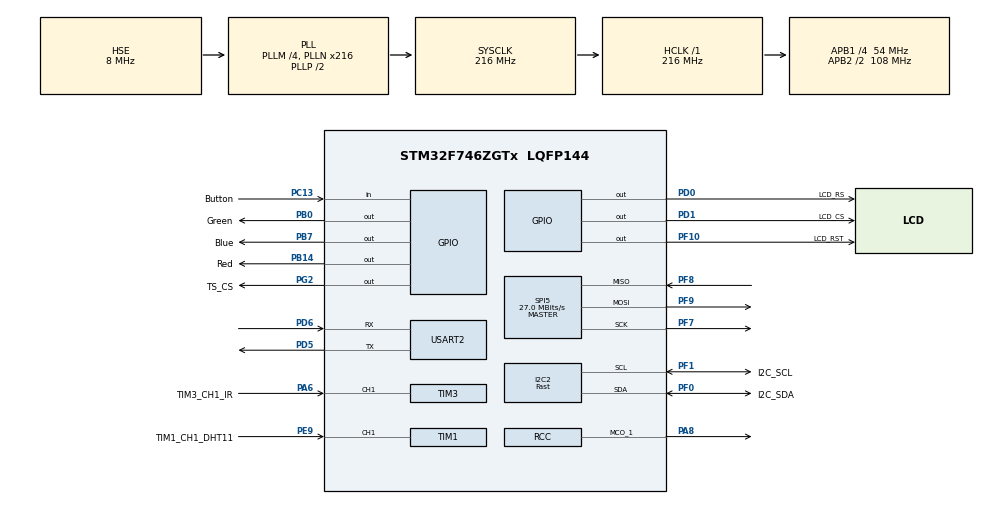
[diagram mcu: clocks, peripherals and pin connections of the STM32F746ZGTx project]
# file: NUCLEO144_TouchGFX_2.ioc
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CORTEX_M7.CPU_DCache=Disabled
CORTEX_M7.CPU_ICache=Disabled
CORTEX_M7.PREFETCH_ENABLE=0
Dma.I2C2_RX.0.Direction=DMA_PERIPH_TO_MEMORY
Dma.I2C2_RX.0.FIFOMode=DMA_FIFOMODE_DISABLE
Dma.I2C2_RX.0.Instance=DMA1_Stream2
Dma.I2C2_RX.0.MemDataAlignment=DMA_MDATAALIGN_BYTE
Dma.I2C2_RX.0.MemInc=DMA_MINC_ENABLE
Dma.I2C2_RX.0.Mode=DMA_NORMAL
Dma.I2C2_RX.0.PeriphDataAlignment=DMA_PDATAALIGN_BYTE
Dma.I2C2_RX.0.PeriphInc=DMA_PINC_DISABLE
Dma.I2C2_RX.0.Priority=DMA_PRIORITY_LOW
Dma.I2C2_TX.1.Direction=DMA_MEMORY_TO_PERIPH
Dma.I2C2_TX.1.FIFOMode=DMA_FIFOMODE_DISABLE
Dma.I2C2_TX.1.Instance=DMA1_Stream7
Dma.I2C2_TX.1.MemDataAlignment=DMA_MDATAALIGN_BYTE
Dma.I2C2_TX.1.MemInc=DMA_MINC_ENABLE
Dma.I2C2_TX.1.Mode=DMA_NORMAL
Dma.I2C2_TX.1.PeriphDataAlignment=DMA_PDATAALIGN_BYTE
Dma.I2C2_TX.1.PeriphInc=DMA_PINC_DISABLE
Dma.I2C2_TX.1.Priority=DMA_PRIORITY_LOW
Dma.Request0=I2C2_RX
Dma.Request1=I2C2_TX
Dma.Request2=SPI5_TX
Dma.Request3=TIM1_CH1
Dma.SPI5_TX.2.Direction=DMA_MEMORY_TO_PERIPH
Dma.SPI5_TX.2.FIFOMode=DMA_FIFOMODE_DISABLE
Dma.SPI5_TX.2.Instance=DMA2_Stream4
Dma.SPI5_TX.2.MemDataAlignment=DMA_MDATAALIGN_HALFWORD
Dma.SPI5_TX.2.MemInc=DMA_MINC_ENABLE
Dma.SPI5_TX.2.Mode=DMA_NORMAL
Dma.SPI5_TX.2.PeriphDataAlignment=DMA_PDATAALIGN_HALFWORD
Dma.SPI5_TX.2.PeriphInc=DMA_PINC_DISABLE
Dma.SPI5_TX.2.Priority=DMA_PRIORITY_LOW
Dma.TIM1_CH1.3.Direction=DMA_PERIPH_TO_MEMORY
Dma.TIM1_CH1.3.FIFOMode=DMA_FIFOMODE_DISABLE
Dma.TIM1_CH1.3.Instance=DMA2_Stream1
Dma.TIM1_CH1.3.MemDataAlignment=DMA_MDATAALIGN_HALFWORD
Dma.TIM1_CH1.3.MemInc=DMA_MINC_ENABLE
Dma.TIM1_CH1.3.Mode=DMA_NORMAL
Dma.TIM1_CH1.3.PeriphDataAlignment=DMA_PDATAALIGN_HALFWORD
Dma.TIM1_CH1.3.PeriphInc=DMA_PINC_DISABLE
Dma.TIM1_CH1.3.Priority=DMA_PRIORITY_LOW
FREERTOS.HEAP_NUMBER=4
FREERTOS.INCLUDE_eTaskGetState=1
FREERTOS.INCLUDE_pcTaskGetTaskName=1
FREERTOS.INCLUDE_uxTaskGetStackHighWaterMark=1
FREERTOS.INCLUDE_vTaskDelayUntil=1
FREERTOS.INCLUDE_xTaskGetCurrentTaskHandle=1
FREERTOS.INCLUDE_xTaskGetHandle=1
FREERTOS.Tasks01=defaultTask,0,4096,StartDefaultTask,Default,NULL,Dynamic,NULL,NULL;MonitorTask,0,256,StartMonitorTask,Default,NULL,Dynamic,NULL,NULL;InitTask,1,128,StartInitTask,Default,NULL,Dynamic,NULL,NULL;TemperatureTask,0,128,StartTemperatureTask,Default,NULL,Dynamic,NULL,NULL;HumidityTask,0,128,StartHumidityTask,Default,NULL,Dynamic,NULL,NULL
FREERTOS.Timers01=statTimer,statTimerCallback,osTimerPeriodic,Default,NULL,Dynamic,NULL;temperatureTimer,temperatureTimerCallback,osTimerPeriodic,Default,NULL,Dynamic,NULL;humidityTimer,humidityTimerCallback,osTimerPeriodic,Default,NULL,Dynamic,NULL
FREERTOS.configCHECK_FOR_STACK_OVERFLOW=2
FREERTOS.configGENERATE_RUN_TIME_STATS=1
FREERTOS.configRECORD_STACK_HIGH_ADDRESS=1
FREERTOS.configTIMER_QUEUE_LENGTH=5
FREERTOS.configTIMER_TASK_STACK_DEPTH=128
FREERTOS.configTOTAL_HEAP_SIZE=30720
FREERTOS.configUSE_APPLICATION_TASK_TAG=1
FREERTOS.configUSE_MALLOC_FAILED_HOOK=1
FREERTOS.configUSE_TIMERS=1
FREERTOS.configUSE_TRACE_FACILITY=1
I2C2.I2C_Fall_Time=100
I2C2.I2C_Rise_Time=300
I2C2.I2C_Speed_Mode=I2C_Fast
I2C2.Timing=0x10A00D25
Mcu.Family=STM32F7
Mcu.Name=STM32F746ZGTx
Mcu.Package=LQFP144
NVIC.DMA1_Stream2_IRQn=true\:5\:0\:true\:false\:true\:true\:false\:true
NVIC.DMA1_Stream7_IRQn=true\:5\:0\:true\:false\:true\:true\:false\:true
NVIC.DMA2_Stream1_IRQn=true\:5\:0\:false\:false\:true\:true\:false\:true
NVIC.DMA2_Stream4_IRQn=true\:5\:0\:true\:false\:true\:true\:false\:true
NVIC.I2C2_ER_IRQn=true\:5\:0\:true\:false\:true\:true\:true\:true
NVIC.I2C2_EV_IRQn=true\:5\:0\:true\:false\:true\:true\:true\:true
NVIC.PriorityGroup=NVIC_PRIORITYGROUP_4
NVIC.SPI5_IRQn=true\:5\:0\:true\:false\:true\:true\:true\:true
NVIC.TIM1_UP_TIM10_IRQn=true\:5\:0\:true\:false\:true\:true\:true\:true
NVIC.TIM2_IRQn=true\:5\:0\:true\:false\:true\:true\:true\:true
NVIC.TIM3_IRQn=true\:5\:0\:false\:false\:true\:true\:true\:true
NVIC.TIM6_DAC_IRQn=true\:0\:0\:false\:false\:true\:false\:false\:true
NVIC.TimeBase=TIM6_DAC_IRQn
NVIC.TimeBaseIP=TIM6
PA13.Mode=Trace_Asynchronous_SW
PA13.Signal=SYS_JTMS-SWDIO
PA14.Mode=Trace_Asynchronous_SW
PA14.Signal=SYS_JTCK-SWCLK
PA6.GPIO_Label=TIM3_CH1_IR
PA6.Signal=S_TIM3_CH1
PA8.Mode=Clock-out-1
PA8.Signal=RCC_MCO_1
PB0.GPIO_Label=Green
PB0.Signal=GPIO_Output
PB14.GPIO_Label=Red
PB14.Signal=GPIO_Output
PB3.Mode=Trace_Asynchronous_SW
PB3.Signal=SYS_JTDO-SWO
PB7.GPIO_Label=Blue
PB7.Signal=GPIO_Output
PC13.GPIO_Label=Button
PC13.Signal=GPIO_Input
PC14/OSC32_IN.Mode=LSE-External-Oscillator
PC14/OSC32_IN.Signal=RCC_OSC32_IN
PC15/OSC32_OUT.Mode=LSE-External-Oscillator
PC15/OSC32_OUT.Signal=RCC_OSC32_OUT
PC3.GPIO_Label=SPI2_MOSI
PC3.Signal=SPI2_MOSI
PD0.GPIO_Label=LCD_RS
PD0.GPIO_Speed=GPIO_SPEED_FREQ_VERY_HIGH
PD0.PinState=GPIO_PIN_SET
PD0.Signal=GPIO_Output
PD1.GPIO_Label=LCD_CS
PD1.GPIO_ModeDefaultOutputPP=GPIO_MODE_OUTPUT_PP
PD1.GPIO_Speed=GPIO_SPEED_FREQ_VERY_HIGH
PD1.PinState=GPIO_PIN_SET
PD1.Signal=GPIO_Output
PD3.GPIO_Label=SPI2_SCK
PD3.Signal=SPI2_SCK
PD5.GPIO_ModeDefaultPP=GPIO_MODE_AF_OD
PD5.Mode=Asynchronous
PD5.Signal=USART2_TX
PD6.Mode=Asynchronous
PD6.Signal=USART2_RX
PE9.GPIO_Label=TIM1_CH1_DHT11
PE9.Signal=S_TIM1_CH1
PF0.GPIO_Label=I2C_SDA
PF0.Mode=I2C
PF0.Signal=I2C2_SDA
PF1.GPIO_Label=I2C_SCL
PF1.Mode=I2C
PF1.Signal=I2C2_SCL
PF10.GPIO_Label=LCD_RST
PF10.PinState=GPIO_PIN_SET
PF10.Signal=GPIO_Output
PF7.Mode=Full_Duplex_Master
PF7.Signal=SPI5_SCK
PF8.Mode=Full_Duplex_Master
PF8.Signal=SPI5_MISO
PF9.Mode=Full_Duplex_Master
PF9.Signal=SPI5_MOSI
PG11.Signal=ETH_TX_EN
PG13.Signal=ETH_TXD0
PG2.GPIO_Label=TS_CS
PG2.Signal=GPIO_Output
PH0/OSC_IN.Mode=HSE-External-Clock-Source
PH0/OSC_IN.Signal=RCC_OSC_IN
PH1/OSC_OUT.Mode=HSE-External-Clock-Source
PH1/OSC_OUT.Signal=RCC_OSC_OUT
ProjectManager.HeapSize=0x2000
ProjectManager.StackSize=0x4000
ProjectManager.TargetToolchain=STM32CubeIDE
RCC.48MHZClocksFreq_Value=24000000
RCC.AHBFreq_Value=216000000
RCC.APB1CLKDivider=RCC_HCLK_DIV4
RCC.APB1Freq_Value=54000000
RCC.APB1TimFreq_Value=108000000
RCC.APB2CLKDivider=RCC_HCLK_DIV2
RCC.APB2Freq_Value=108000000
RCC.APB2TimFreq_Value=216000000
RCC.CortexFreq_Value=216000000
RCC.HCLKFreq_Value=216000000
RCC.HSE_VALUE=8000000
RCC.HSI_VALUE=16000000
RCC.PLLM=4
RCC.PLLMUL=RCC_PLL_MUL9
RCC.PLLN=216
RCC.PLLQ=9
RCC.PLLSourceVirtual=RCC_PLLSOURCE_HSE
RCC.PRESCALERUSB=RCC_USBCLKSOURCE_PLL_DIV1_5
RCC.RCC_MCO1Source=RCC_MCO1SOURCE_PLLCLK
RCC.RCC_MCODiv1=RCC_MCODIV_4
RCC.RTCClockSelection=RCC_RTCCLKSOURCE_LSE
RCC.SYSCLKFreq_VALUE=216000000
RCC.SYSCLKSource=RCC_SYSCLKSOURCE_PLLCLK
RCC.SYSCLKSourceVirtual=RCC_SYSCLKSOURCE_PLLCLK
RCC.USBFreq_Value=48000000
RCC.VCOOutputFreq_Value=432000000
RTC.Format=RTC_FORMAT_BIN
SH.S_TIM1_CH1.0=TIM1_CH1,PWM_Input_1
SH.S_TIM3_CH1.0=TIM3_CH1,PWM_Input_1
SPI5.BaudRatePrescaler=SPI_BAUDRATEPRESCALER_4
SPI5.CalculateBaudRate=27.0 MBits/s
SPI5.DataSize=SPI_DATASIZE_8BIT
SPI5.Direction=SPI_DIRECTION_2LINES
SPI5.Mode=SPI_MODE_MASTER
SPI5.VirtualType=VM_MASTER
STMicroelectronics.X-CUBE-TOUCHGFX.4.13.0.ApplicationCcGraphicsJjApplication=TouchGFXOoGenerator
STMicroelectronics.X-CUBE-TOUCHGFX.4.13.0.tgfx_address1=0x20046000
STMicroelectronics.X-CUBE-TOUCHGFX.4.13.0.tgfx_block_size=38400
STMicroelectronics.X-CUBE-TOUCHGFX.4.13.0.tgfx_buffering_strategy=Partial
STMicroelectronics.X-CUBE-TOUCHGFX.4.13.0.tgfx_custom_height=320
STMicroelectronics.X-CUBE-TOUCHGFX.4.13.0.tgfx_custom_width=480
STMicroelectronics.X-CUBE-TOUCHGFX.4.13.0.tgfx_location=By Address
STMicroelectronics.X-CUBE-TOUCHGFX.4.13.0.tgfx_number_of_blocks=2
TIM1.ICPolarity_1=TIM_INPUTCHANNELPOLARITY_FALLING
TIM1.Period=65000
TIM1.Prescaler=215
TIM10.Period=59999
TIM10.Prescaler=59
TIM2.Channel-PWM\ Generation1\ No\ Output=TIM_CHANNEL_1
TIM2.Period=59999
TIM2.Prescaler=71
TIM2.Pulse-PWM\ Generation1\ No\ Output=32000
TIM3.ICPolarity_1=TIM_INPUTCHANNELPOLARITY_FALLING
TIM3.Period=65000
TIM3.Prescaler=107
USART2.VirtualMode-Asynchronous=VM_ASYNC
VP_CRC_VS_CRC.Mode=CRC_Activate
VP_FREERTOS_VS_CMSIS_V1.Mode=CMSIS_V1
VP_RNG_VS_RNG.Mode=RNG_Activate
VP_RTC_VS_RTC_Activate.Mode=RTC_Enabled
VP_RTC_VS_RTC_Calendar.Mode=RTC_Calendar
VP_STMicroelectronics.X-CUBE-TOUCHGFX_VS_GraphicsJjApplication_4.13.0.Mode=GraphicsJjApplication
VP_SYS_VS_tim6.Mode=TIM6
VP_TIM10_VS_ClockSourceINT.Mode=Enable_Timer
VP_TIM2_VS_ClockSourceINT.Mode=Internal
VP_TIM2_VS_OPM.Mode=OPM_bit
VP_TIM2_VS_no_output1.Mode=PWM Generation1 No Output
board=NUCLEO-F746ZG

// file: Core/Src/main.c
/* USER CODE BEGIN Header */
/**
  ******************************************************************************
  * @file           : main.c
  * @brief          : Main program body
  ******************************************************************************
  * @attention
  *
  * <h2><center>&copy; Copyright (c) 2020 STMicroelectronics.
  * All rights reserved.</center></h2>
  *
  * This software component is licensed by ST under BSD 3-Clause license,
  * the "License"; You may not use this file except in compliance with the
  * License. You may obtain a copy of the License at:
  *                        opensource.org/licenses/BSD-3-Clause
  *
  ******************************************************************************
  */
/* USER CODE END Header */

#include "main.h"
#include "cmsis_os.h"
#include "crc.h"
#include "dma.h"
#include "i2c.h"
#include "rng.h"
#include "rtc.h"
#include "spi.h"
#include "tim.h"
#include "usart.h"
#include "gpio.h"
#include "app_touchgfx.h"

/* USER CODE BEGIN Includes */
#include "stack_check.h"
/* USER CODE END Includes */

/* USER CODE BEGIN PV */
volatile unsigned long ulHighFrequencyTimerTicks;
/* USER CODE END PV */

void SystemClock_Config(void);
void MX_FREERTOS_Init(void);
/* USER CODE BEGIN PFP */
void TGFX_Timing (void);

/* USER CODE END PFP */

int main(void)
{

  /* MCU Configuration--------------------------------------------------------*/

  /* Reset of all peripherals, Initializes the Flash interface and the Systick. */
  HAL_Init();

  /* Configure the system clock */
  SystemClock_Config();

  /* Initialize all configured peripherals */
  MX_GPIO_Init();
  MX_DMA_Init();
  MX_CRC_Init();
  MX_I2C2_Init();
  MX_TIM10_Init();
  MX_RNG_Init();
  MX_RTC_Init();
  MX_SPI5_Init();
  MX_TIM1_Init();
  MX_TIM2_Init();
  MX_TIM3_Init();
  MX_USART2_UART_Init();
  MX_TouchGFX_Init();
  /* USER CODE BEGIN 2 */

  HAL_TIM_Base_Start_IT(&htim10);

  /* USER CODE END 2 */

  /* Call init function for freertos objects (in freertos.c) */
  MX_FREERTOS_Init();
  /* Start scheduler */
  osKernelStart();

  /* We should never get here as control is now taken by the scheduler */
  /* Infinite loop */
  while (1)
  {

  }
}

void SystemClock_Config(void)
{
  RCC_OscInitTypeDef RCC_OscInitStruct = {0};
  RCC_ClkInitTypeDef RCC_ClkInitStruct = {0};
  RCC_PeriphCLKInitTypeDef PeriphClkInitStruct = {0};

  /** Configure LSE Drive Capability
  */
  HAL_PWR_EnableBkUpAccess();
  __HAL_RCC_LSEDRIVE_CONFIG(RCC_LSEDRIVE_LOW);
  /** Configure the main internal regulator output voltage
  */
  __HAL_RCC_PWR_CLK_ENABLE();
  __HAL_PWR_VOLTAGESCALING_CONFIG(PWR_REGULATOR_VOLTAGE_SCALE1);
  /** Initializes the CPU, AHB and APB busses clocks
  */
  RCC_OscInitStruct.OscillatorType = RCC_OSCILLATORTYPE_HSE|RCC_OSCILLATORTYPE_LSE;
  RCC_OscInitStruct.HSEState = RCC_HSE_BYPASS;
  RCC_OscInitStruct.LSEState = RCC_LSE_ON;
  RCC_OscInitStruct.PLL.PLLState = RCC_PLL_ON;
  RCC_OscInitStruct.PLL.PLLSource = RCC_PLLSOURCE_HSE;
  RCC_OscInitStruct.PLL.PLLM = 4;
  RCC_OscInitStruct.PLL.PLLN = 216;
  RCC_OscInitStruct.PLL.PLLP = RCC_PLLP_DIV2;
  RCC_OscInitStruct.PLL.PLLQ = 9;
  if (HAL_RCC_OscConfig(&RCC_OscInitStruct) != HAL_OK)
  {
    Error_Handler();
  }
  /** Activate the Over-Drive mode
  */
  if (HAL_PWREx_EnableOverDrive() != HAL_OK)
  {
    Error_Handler();
  }
  /** Initializes the CPU, AHB and APB busses clocks
  */
  RCC_ClkInitStruct.ClockType = RCC_CLOCKTYPE_HCLK|RCC_CLOCKTYPE_SYSCLK
                              |RCC_CLOCKTYPE_PCLK1|RCC_CLOCKTYPE_PCLK2;
  RCC_ClkInitStruct.SYSCLKSource = RCC_SYSCLKSOURCE_PLLCLK;
  RCC_ClkInitStruct.AHBCLKDivider = RCC_SYSCLK_DIV1;
  RCC_ClkInitStruct.APB1CLKDivider = RCC_HCLK_DIV4;
  RCC_ClkInitStruct.APB2CLKDivider = RCC_HCLK_DIV2;

  if (HAL_RCC_ClockConfig(&RCC_ClkInitStruct, FLASH_LATENCY_7) != HAL_OK)
  {
    Error_Handler();
  }
  PeriphClkInitStruct.PeriphClockSelection = RCC_PERIPHCLK_RTC|RCC_PERIPHCLK_USART2
                              |RCC_PERIPHCLK_I2C2|RCC_PERIPHCLK_CLK48;
  PeriphClkInitStruct.RTCClockSelection = RCC_RTCCLKSOURCE_LSE;
  PeriphClkInitStruct.Usart2ClockSelection = RCC_USART2CLKSOURCE_PCLK1;
  PeriphClkInitStruct.I2c2ClockSelection = RCC_I2C2CLKSOURCE_PCLK1;
  PeriphClkInitStruct.Clk48ClockSelection = RCC_CLK48SOURCE_PLL;
  if (HAL_RCCEx_PeriphCLKConfig(&PeriphClkInitStruct) != HAL_OK)
  {
    Error_Handler();
  }
  HAL_RCC_MCOConfig(RCC_MCO1, RCC_MCO1SOURCE_PLLCLK, RCC_MCODIV_4);
}

 /**
  * @brief  Period elapsed callback in non blocking mode
  * @note   This function is called  when TIM6 interrupt took place, inside
  * HAL_TIM_IRQHandler(). It makes a direct call to HAL_IncTick() to increment
  * a global variable "uwTick" used as application time base.
  * @param  htim : TIM handle
  * @retval None
  */
void HAL_TIM_PeriodElapsedCallback(TIM_HandleTypeDef *htim)
{
  /* USER CODE BEGIN Callback 0 */
  if (htim->Instance == TIM6) {
	ulHighFrequencyTimerTicks++;
  }
  /* USER CODE END Callback 0 */
  if (htim->Instance == TIM6) {
    HAL_IncTick();
  }
  /* USER CODE BEGIN Callback 1 */
  if (htim->Instance == TIM10) {
	  TGFX_Timing ();
  }
  /* USER CODE END Callback 1 */
}

void Error_Handler(void)
{
  /* USER CODE BEGIN Error_Handler_Debug */
  /* User can add his own implementation to report the HAL error return state */
	while (1){
		HAL_GPIO_WritePin(Red_GPIO_Port, Red_Pin, GPIO_PIN_SET);
		HAL_Delay(250);
		HAL_GPIO_WritePin(Red_GPIO_Port, Red_Pin, GPIO_PIN_RESET);
		HAL_Delay(250);
	}

  /* USER CODE END Error_Handler_Debug */
}

/************************ (C) COPYRIGHT STMicroelectronics *****END OF FILE****/

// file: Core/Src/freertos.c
/* USER CODE BEGIN Header */
/**
  ******************************************************************************
  * File Name          : freertos.c
  * Description        : Code for freertos applications
  ******************************************************************************
  * @attention
  *
  * <h2><center>&copy; Copyright (c) 2020 STMicroelectronics.
  * All rights reserved.</center></h2>
  *
  * This software component is licensed by ST under Ultimate Liberty license
  * SLA0044, the "License"; You may not use this file except in compliance with
  * the License. You may obtain a copy of the License at:
  *                             www.st.com/SLA0044
  *
  ******************************************************************************
  */
/* USER CODE END Header */

#include "FreeRTOS.h"
#include "task.h"
#include "main.h"
#include "cmsis_os.h"

/* USER CODE BEGIN Includes */
#include "stdio.h"
#include "app_touchgfx.h"
#include "stack_check.h"
/* USER CODE END Includes */

/* USER CODE BEGIN PD */
#define MAX_TASKS_MONITOR	15
/* USER CODE END PD */

/* USER CODE BEGIN Variables */
extern volatile unsigned long ulHighFrequencyTimerTicks;
/* USER CODE END Variables */
osThreadId defaultTaskHandle;
osThreadId MonitorTaskHandle;
osThreadId InitTaskHandle;
osThreadId TemperatureTaskHandle;
osThreadId HumidityTaskHandle;
osTimerId statTimerHandle;
osTimerId temperatureTimerHandle;
osTimerId humidityTimerHandle;

/* USER CODE BEGIN FunctionPrototypes */
void print_itm (const char* str);
char CurrentStateConvert (eTaskState state_);

void ir_init(void);

void ds_config(void);
uint32_t ds_request_temp(void);
uint16_t* ds_read_temp(void);

void dht11_start(void);

/* USER CODE END FunctionPrototypes */

void StartDefaultTask(void const * argument);
void StartMonitorTask(void const * argument);
void StartInitTask(void const * argument);
void StartTemperatureTask(void const * argument);
void StartHumidityTask(void const * argument);
void statTimerCallback(void const * argument);
void temperatureTimerCallback(void const * argument);
void humidityTimerCallback(void const * argument);

void MX_FREERTOS_Init(void); /* (MISRA C 2004 rule 8.1) */

/* GetIdleTaskMemory prototype (linked to static allocation support) */
void vApplicationGetIdleTaskMemory( StaticTask_t **ppxIdleTaskTCBBuffer, StackType_t **ppxIdleTaskStackBuffer, uint32_t *pulIdleTaskStackSize );

/* GetTimerTaskMemory prototype (linked to static allocation support) */
void vApplicationGetTimerTaskMemory( StaticTask_t **ppxTimerTaskTCBBuffer, StackType_t **ppxTimerTaskStackBuffer, uint32_t *pulTimerTaskStackSize );

/* Hook prototypes */
void configureTimerForRunTimeStats(void);
unsigned long getRunTimeCounterValue(void);
void vApplicationStackOverflowHook(xTaskHandle xTask, signed char *pcTaskName);
void vApplicationMallocFailedHook(void);

/* USER CODE BEGIN 1 */
/* Functions needed when configGENERATE_RUN_TIME_STATS is on */
__weak void configureTimerForRunTimeStats(void)
{
	ulHighFrequencyTimerTicks = 0;
}

__weak unsigned long getRunTimeCounterValue(void)
{
	return ulHighFrequencyTimerTicks;
}
/* USER CODE END 1 */

/* USER CODE BEGIN 4 */
__weak void vApplicationStackOverflowHook(xTaskHandle xTask, signed char *pcTaskName)
{
   /* Run time stack overflow checking is performed if
   configCHECK_FOR_STACK_OVERFLOW is defined to 1 or 2. This hook function is
   called if a stack overflow is detected. */
	taskENTER_CRITICAL();
	{
		while (1)
		{
			portNOP();
		}
	}
	taskEXIT_CRITICAL();
}
/* USER CODE END 4 */

/* USER CODE BEGIN 5 */
__weak void vApplicationMallocFailedHook(void)
{
   /* vApplicationMallocFailedHook() will only be called if
   configUSE_MALLOC_FAILED_HOOK is set to 1 in FreeRTOSConfig.h. It is a hook
   function that will get called if a call to pvPortMalloc() fails.
   pvPortMalloc() is called internally by the kernel whenever a task, queue,
   timer or semaphore is created. It is also called by various parts of the
   demo application. If heap_1.c or heap_2.c are used, then the size of the
   heap available to pvPortMalloc() is defined by configTOTAL_HEAP_SIZE in
   FreeRTOSConfig.h, and the xPortGetFreeHeapSize() API function can be used
   to query the size of free heap space that remains (although it does not
   provide information on how the remaining heap might be fragmented). */
	taskENTER_CRITICAL();
	{
		while (1)
		{
			portNOP();
		}
	}
	taskEXIT_CRITICAL();
}
/* USER CODE END 5 */

/* USER CODE BEGIN GET_IDLE_TASK_MEMORY */
static StaticTask_t xIdleTaskTCBBuffer;
static StackType_t xIdleStack[configMINIMAL_STACK_SIZE];

void vApplicationGetIdleTaskMemory( StaticTask_t **ppxIdleTaskTCBBuffer, StackType_t **ppxIdleTaskStackBuffer, uint32_t *pulIdleTaskStackSize )
{
  *ppxIdleTaskTCBBuffer = &xIdleTaskTCBBuffer;
  *ppxIdleTaskStackBuffer = &xIdleStack[0];
  *pulIdleTaskStackSize = configMINIMAL_STACK_SIZE;
  /* place for user code */
}
/* USER CODE END GET_IDLE_TASK_MEMORY */

/* USER CODE BEGIN GET_TIMER_TASK_MEMORY */
static StaticTask_t xTimerTaskTCBBuffer;
static StackType_t xTimerStack[configTIMER_TASK_STACK_DEPTH];

void vApplicationGetTimerTaskMemory( StaticTask_t **ppxTimerTaskTCBBuffer, StackType_t **ppxTimerTaskStackBuffer, uint32_t *pulTimerTaskStackSize )
{
  *ppxTimerTaskTCBBuffer = &xTimerTaskTCBBuffer;
  *ppxTimerTaskStackBuffer = &xTimerStack[0];
  *pulTimerTaskStackSize = configTIMER_TASK_STACK_DEPTH;
  /* place for user code */
}
/* USER CODE END GET_TIMER_TASK_MEMORY */

void MX_FREERTOS_Init(void) {

  /* Create the timer(s) */
  /* definition and creation of statTimer */
  osTimerDef(statTimer, statTimerCallback);
  statTimerHandle = osTimerCreate(osTimer(statTimer), osTimerPeriodic, NULL);

  /* definition and creation of temperatureTimer */
  osTimerDef(temperatureTimer, temperatureTimerCallback);
  temperatureTimerHandle = osTimerCreate(osTimer(temperatureTimer), osTimerPeriodic, NULL);

  /* definition and creation of humidityTimer */
  osTimerDef(humidityTimer, humidityTimerCallback);
  humidityTimerHandle = osTimerCreate(osTimer(humidityTimer), osTimerPeriodic, NULL);

  /* USER CODE BEGIN RTOS_TIMERS */
  /* start timers, add new ones, ... */
  osTimerStart (statTimerHandle, 2000);
  osTimerStart (temperatureTimerHandle, 500);
  osTimerStart (humidityTimerHandle, 1000);
  /* USER CODE END RTOS_TIMERS */

  /* Create the thread(s) */
  /* definition and creation of defaultTask */
  osThreadDef(defaultTask, StartDefaultTask, osPriorityNormal, 0, 4096);
  defaultTaskHandle = osThreadCreate(osThread(defaultTask), NULL);

  /* definition and creation of MonitorTask */
  osThreadDef(MonitorTask, StartMonitorTask, osPriorityNormal, 0, 256);
  MonitorTaskHandle = osThreadCreate(osThread(MonitorTask), NULL);

  /* definition and creation of InitTask */
  osThreadDef(InitTask, StartInitTask, osPriorityAboveNormal, 0, 128);
  InitTaskHandle = osThreadCreate(osThread(InitTask), NULL);

  /* definition and creation of TemperatureTask */
  osThreadDef(TemperatureTask, StartTemperatureTask, osPriorityNormal, 0, 128);
  TemperatureTaskHandle = osThreadCreate(osThread(TemperatureTask), NULL);

  /* definition and creation of HumidityTask */
  osThreadDef(HumidityTask, StartHumidityTask, osPriorityNormal, 0, 128);
  HumidityTaskHandle = osThreadCreate(osThread(HumidityTask), NULL);

}

void StartDefaultTask(void const * argument)
{
  /* USER CODE BEGIN StartDefaultTask */
	MX_TouchGFX_Process();
  /* Infinite loop */
  for(;;)
  {
    osDelay(1);
  }
  /* USER CODE END StartDefaultTask */
}

void StartMonitorTask(void const * argument)
{
  /* USER CODE BEGIN StartMonitorTask */
	UNUSED(argument);
	/* Infinite loop */
	UBaseType_t pulTotalRunTime = 0, taskCount = 0;
	/* Infinite loop */
	for(;;)
	{
		ulTaskNotifyTake( pdTRUE,  portMAX_DELAY );

		taskCount = uxTaskGetNumberOfTasks();

		if (taskCount < MAX_TASKS_MONITOR)
		{
			static TaskStatus_t TaskStatusArray[MAX_TASKS_MONITOR];
			static portCHAR taskStr[72];

			taskCount = uxTaskGetSystemState(TaskStatusArray, taskCount, &pulTotalRunTime);

			for (UBaseType_t task = 0; task < taskCount; task++)
			{
				sprintf (taskStr, "%22s: %c, %2lu, %6u, %lu\n%c",
						TaskStatusArray[task].pcTaskName,
						CurrentStateConvert(TaskStatusArray[task].eCurrentState),
						TaskStatusArray[task].uxCurrentPriority,
						TaskStatusArray[task].usStackHighWaterMark,
						TaskStatusArray[task].ulRunTimeCounter,
						'\0');
				print_itm(taskStr);
			}
			sprintf (taskStr, "Current Heap Free Size: %u\n%c", xPortGetFreeHeapSize(), '\0');
			print_itm(taskStr);
			sprintf (taskStr, "Minimal Heap Free Size: %u\n%c", xPortGetMinimumEverFreeHeapSize(), '\0');
			print_itm(taskStr);
			sprintf (taskStr, "Total RunTime:  %lu ms\n%c", pulTotalRunTime, '\0');
			print_itm(taskStr);
			sprintf (taskStr, "System Uptime:  %lu ms\n%c", xTaskGetTickCount() * portTICK_PERIOD_MS, '\0');
			print_itm(taskStr);

			sprintf (taskStr, "Stack used: %u\n%c", CheckStackSize(), '\0');
			print_itm(taskStr);

			sprintf (taskStr, "Heap used: %u\n%c", CheckHeapSize(), '\0');
			print_itm(taskStr);
		}
		else
		{
			print_itm("There are more tasks than MAX_TASKS_MONITOR!\n");
		}

	}
	vTaskDelete(NULL);
  /* USER CODE END StartMonitorTask */
}

void StartInitTask(void const * argument)
{
  /* USER CODE BEGIN StartInitTask */
  /* Infinite loop */
  for(;;)
  {
	  ir_init();
	  ds_config();

	  vTaskDelete(NULL);
  }
  /* USER CODE END StartInitTask */
}

void StartTemperatureTask(void const * argument)
{
  /* USER CODE BEGIN StartTemperatureTask */
	uint32_t convertion_time = 750;
  /* Infinite loop */
  for(;;)
  {
	ulTaskNotifyTake( pdTRUE,  portMAX_DELAY );

	convertion_time =  ds_request_temp();
	osDelay(convertion_time);
	ds_read_temp();
  }
  /* USER CODE END StartTemperatureTask */
}

void StartHumidityTask(void const * argument)
{
  /* USER CODE BEGIN StartHumidityTask */
  /* Infinite loop */
  for(;;)
  {
	ulTaskNotifyTake( pdTRUE,  portMAX_DELAY );

	dht11_start();
//    osDelay(1);
  }
  /* USER CODE END StartHumidityTask */
}

/* statTimerCallback function */
void statTimerCallback(void const * argument)
{
  /* USER CODE BEGIN statTimerCallback */
	UNUSED(argument);
	xTaskNotifyGive( MonitorTaskHandle );
  /* USER CODE END statTimerCallback */
}

/* temperatureTimerCallback function */
void temperatureTimerCallback(void const * argument)
{
  /* USER CODE BEGIN temperatureTimerCallback */
	UNUSED(argument);
	xTaskNotifyGive( TemperatureTaskHandle );
  /* USER CODE END temperatureTimerCallback */
}

/* humidityTimerCallback function */
void humidityTimerCallback(void const * argument)
{
  /* USER CODE BEGIN humidityTimerCallback */
	UNUSED(argument);
	xTaskNotifyGive( HumidityTaskHandle );
  /* USER CODE END humidityTimerCallback */
}

/* USER CODE BEGIN Application */

void print_itm (const char* str){
  for(uint8_t i = 0;
      ( str[i] != '\0') && (str[i] < 256 ); i++){

      ITM_SendChar(str[i]);
  }
}

char CurrentStateConvert (eTaskState state_){
	char result = 'I';
	int state = (int)state_;

	switch (state) {

	case eReady:
		result = 'R';
		break;

	case eBlocked:
		result = 'B';
		break;

	case eSuspended:
		result = 'S';
		break;

	case eDeleted:
		result = 'D';
		break;

	case eRunning:
		result = 'E';
		break;

	default:
		break;
	}
	return result;
}

/* USER CODE END Application */

/************************ (C) COPYRIGHT STMicroelectronics *****END OF FILE****/
